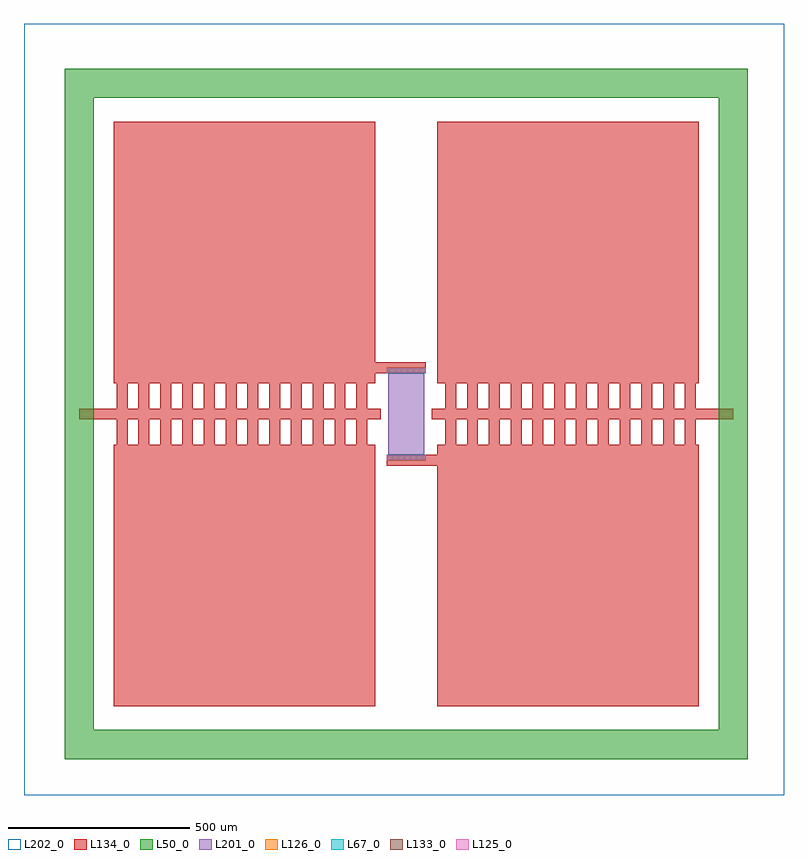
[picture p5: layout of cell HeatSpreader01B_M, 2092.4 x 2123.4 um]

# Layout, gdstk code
import gdstk
lib = gdstk.Library(unit=1e-6, precision=1e-09)
def R(c, l, rs):  # rectangles x0, y0, x1, y1
    for r in rs: c.add(gdstk.rectangle(r[:2], r[2:], *l))
L50_0 = (50, 0)
L67_0 = (67, 0)
L125_0 = (125, 0)
L126_0 = (126, 0)
L133_0 = (133, 0)
L134_0 = (134, 0)
L201_0 = (201, 0)
L202_0 = (202, 0)

tm2_tm1_cdns_75984591892 = lib.new_cell('TM2_TM1_CDNS_759845918920')
R(tm2_tm1_cdns_75984591892, L126_0, [(-53.87,-7.81,53.87,7.81)])
R(tm2_tm1_cdns_75984591892, L133_0, [(-53.37,-7.31,53.37,7.31)])
R(tm2_tm1_cdns_75984591892, L134_0, [(-53.87,-7.81,53.87,7.81)])

tm1_m5_cdns_759845918921 = lib.new_cell('TM1_M5_CDNS_759845918921')
R(tm1_m5_cdns_759845918921, L67_0, [(-53.37,-7.31,53.37,7.31)])
R(tm1_m5_cdns_759845918921, L125_0, [(-53.13,-6.93,53.13,6.93)])
R(tm1_m5_cdns_759845918921, L126_0, [(-53.87,-7.81,53.87,7.81)])

heatspreader01b_m = lib.new_cell('HeatSpreader01B_M')
R(heatspreader01b_m, L50_0, [(-940,-950,-860,950), (-940,-950,940,-870), (860,-950,940,950), (-940,870,940,950)])
R(heatspreader01b_m, L67_0, [(-53.37,-114.15,53.37,-111.67), (-53.37,111.67,53.37,114.15)])
R(heatspreader01b_m, L134_0, [(-805,-805,-85,-85), (85,-805,805,-85), (-805,85,-85,805), (85,85,805,805)])
R(heatspreader01b_m, L201_0, [(-50,-112,50,112.2)])
R(heatspreader01b_m, L202_0, [(-1052.4,-1049.4,1040,1074)])
heatspreader01b_m.add(gdstk.FlexPath([(122.34,86.55),(122.34,-86.77)], 30, ends="flush", simple_path=True, layer=134, datatype=0))  # L134_0
heatspreader01b_m.add(gdstk.FlexPath([(182.34,86.55),(182.34,-86.51)], 30, ends="flush", simple_path=True, layer=134, datatype=0))  # L134_0
heatspreader01b_m.add(gdstk.FlexPath([(242.34,86.73),(242.34,-86.32)], 30, ends="flush", simple_path=True, layer=134, datatype=0))  # L134_0
heatspreader01b_m.add(gdstk.FlexPath([(302.34,86.47),(302.34,-86.58)], 30, ends="flush", simple_path=True, layer=134, datatype=0))  # L134_0
heatspreader01b_m.add(gdstk.FlexPath([(362.34,86.9),(362.34,-86.58)], 30, ends="flush", simple_path=True, layer=134, datatype=0))  # L134_0
heatspreader01b_m.add(gdstk.FlexPath([(422.34,86.9),(422.34,-86.98)], 30, ends="flush", simple_path=True, layer=134, datatype=0))  # L134_0
heatspreader01b_m.add(gdstk.FlexPath([(482.34,86.9),(482.34,-86.58)], 30, ends="flush", simple_path=True, layer=134, datatype=0))  # L134_0
heatspreader01b_m.add(gdstk.FlexPath([(542.34,86.46),(542.34,-86.31)], 30, ends="flush", simple_path=True, layer=134, datatype=0))  # L134_0
heatspreader01b_m.add(gdstk.FlexPath([(602.34,86.55),(602.34,-86.85)], 30, ends="flush", simple_path=True, layer=134, datatype=0))  # L134_0
heatspreader01b_m.add(gdstk.FlexPath([(662.34,86.82),(662.34,-87.26)], 30, ends="flush", simple_path=True, layer=134, datatype=0))  # L134_0
heatspreader01b_m.add(gdstk.FlexPath([(722.34,87.08),(722.34,-86.85)], 30, ends="flush", simple_path=True, layer=134, datatype=0))  # L134_0
heatspreader01b_m.add(gdstk.FlexPath([(782.34,86.64),(782.34,-85.92)], 30, ends="flush", simple_path=True, layer=134, datatype=0))  # L134_0
heatspreader01b_m.add(gdstk.FlexPath([(-122.34,86.46),(-122.34,-86.44)], 30, ends="flush", simple_path=True, layer=134, datatype=0))  # L134_0
heatspreader01b_m.add(gdstk.FlexPath([(-182.34,86.47),(-182.34,-86.01)], 30, ends="flush", simple_path=True, layer=134, datatype=0))  # L134_0
heatspreader01b_m.add(gdstk.FlexPath([(-242.34,86.55),(-242.34,-85.93)], 30, ends="flush", simple_path=True, layer=134, datatype=0))  # L134_0
heatspreader01b_m.add(gdstk.FlexPath([(-302.34,86.47),(-302.34,-86.1)], 30, ends="flush", simple_path=True, layer=134, datatype=0))  # L134_0
heatspreader01b_m.add(gdstk.FlexPath([(-362.34,86.12),(-362.34,-86.6)], 30, ends="flush", simple_path=True, layer=134, datatype=0))  # L134_0
heatspreader01b_m.add(gdstk.FlexPath([(-422.34,86.55),(-422.34,-86.29)], 30, ends="flush", simple_path=True, layer=134, datatype=0))  # L134_0
heatspreader01b_m.add(gdstk.FlexPath([(-482.34,86.38),(-482.34,-86.05)], 30, ends="flush", simple_path=True, layer=134, datatype=0))  # L134_0
heatspreader01b_m.add(gdstk.FlexPath([(-542.34,86.46),(-542.34,-85.97)], 30, ends="flush", simple_path=True, layer=134, datatype=0))  # L134_0
heatspreader01b_m.add(gdstk.FlexPath([(-602.34,86.46),(-602.34,-86.05)], 30, ends="flush", simple_path=True, layer=134, datatype=0))  # L134_0
heatspreader01b_m.add(gdstk.FlexPath([(-662.34,86.11),(-662.34,-86.29)], 30, ends="flush", simple_path=True, layer=134, datatype=0))  # L134_0
heatspreader01b_m.add(gdstk.FlexPath([(-722.34,86.72),(-722.34,-86.21)], 30, ends="flush", simple_path=True, layer=134, datatype=0))  # L134_0
heatspreader01b_m.add(gdstk.FlexPath([(-782.34,86.12),(-782.34,-85.81)], 30, ends="flush", simple_path=True, layer=134, datatype=0))  # L134_0
heatspreader01b_m.add(gdstk.FlexPath([(88,-127.59),(-53.87,-127.59)], 30, ends="flush", simple_path=True, layer=134, datatype=0))  # L134_0
heatspreader01b_m.add(gdstk.FlexPath([(53.87,127.59),(-88,127.59)], 30, ends="flush", simple_path=True, layer=134, datatype=0))  # L134_0
heatspreader01b_m.add(gdstk.FlexPath([(-70,0),(-900,0)], 30, ends="flush", simple_path=True, layer=134, datatype=0))  # L134_0
heatspreader01b_m.add(gdstk.FlexPath([(70,0),(900,0)], 30, ends="flush", simple_path=True, layer=134, datatype=0))  # L134_0
heatspreader01b_m.add(gdstk.Reference(tm2_tm1_cdns_75984591892, (0,-120.4)))
heatspreader01b_m.add(gdstk.Reference(tm2_tm1_cdns_75984591892, (0,120.4)))
heatspreader01b_m.add(gdstk.Reference(tm1_m5_cdns_759845918921, (0,-120.4)))
heatspreader01b_m.add(gdstk.Reference(tm1_m5_cdns_759845918921, (0,120.4)))

lib.write_gds('HeatSpreader01B_M.gds')
